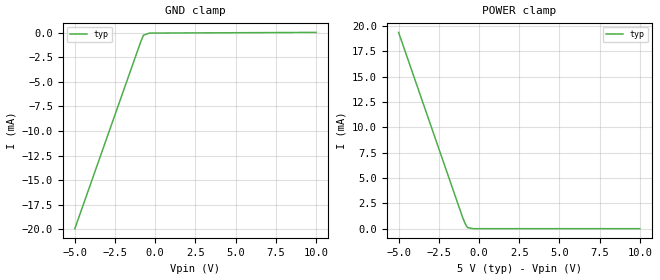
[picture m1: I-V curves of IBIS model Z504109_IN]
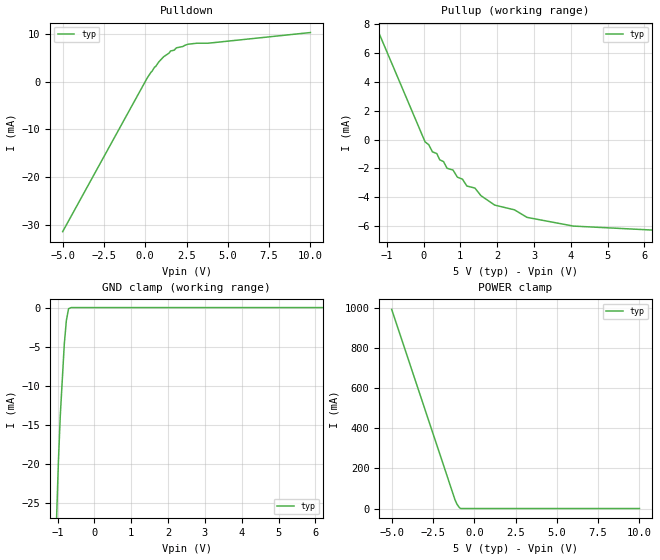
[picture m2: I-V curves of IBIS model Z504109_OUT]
| YOU ARE ONLY AUTHORIZED TO USE THIS SOFTWARE
| ACCORDING TO LICENSOR'S LICENSE RESTRICTIONS.
[IBIS Ver] 3.1
[File Name] mc54hc4543j.ibs
[File Rev] 2.0
[Source] Measured and created by ICX Technology
[Date] Friday 7/14/00 9:08:07 AM
[Copyright]
| (C) COPYRIGHT 1993-2000
| MENTOR GRAPHICS CORPORATION
| ICX STANDARD LIBRARY, ICX PROJECT MODELING,
| ICX CUSTOM MODELING, ICX VENDOR MODEL
| ALL RIGHTS RESERVED.
| THE FOLLOWING ARE TRADEMARKS OR SERVICE MARKS OF
| MENTOR GRAPHICS CORPORATION:ICX (R), ICX STANDARD
| LIBRARY(R), ICX PROJECT MODELING(R), ICX CUSTOM
| MODELING(R), qualityIBIS(TM), MODELVIEWER(TM),
| AND MODELEDITOR(TM)
| ALL COPIES OF SOFTWARE, INCLUDING BUT NOT LIMITED TO
| ANY MODIFICATIONS, ENHANCEMENTS OR DERIVATIVE WORKS,
| MUST CONTAIN ALL MENTOR GRAPHICS CORPORATION'S
| NOTICES AND LEGENDS, INCLUDING THOSE EMBEDDED IN
| SOFTWARE AND THOSE AFFIXED TO SOFTWARE MEDIUM
| AND CONTAINER, AS RECEIVED FROM MENTOR GRAPHICS
| CORPORATION.
|  ZAP Model Builder 2.7
[Component] MC54HC4543J
[Manufacturer] OnSemiconductor
[Package]
| variable   typ   min   max
R_pkg  .212ohms NA NA
L_pkg  4.758nH NA NA
C_pkg  1.944pF NA NA
[Pin] signal_name  model_name  R_pin  L_pin C_pin
1 L Z504109_IN .224 7.258n 2.683p
2 D2 Z504109_IN .216 5.258n 2.19p
3 D1 Z504109_IN .208 3.758n 1.697p
4 D3 Z504109_IN .2 2.758n 1.204p
5 D0 Z504109_IN .2 2.758n 1.204p
6 PCLK Z504109_IN .208 3.758n 1.697p
7 BI Z504109_IN .216 5.258n 2.19p
8 GROUND GND .224 7.258n 2.683p
9 A Z504109_OUT .224 7.258n 2.683p
10 B Z504109_OUT .216 5.258n 2.19p
11 C Z504109_OUT .208 3.758n 1.697p
12 D Z504109_OUT .2 2.758n 1.204p
13 E Z504109_OUT .2 2.758n 1.204p
14 G Z504109_OUT .208 3.758n 1.697p
15 F Z504109_OUT .216 5.258n 2.19p
16 VCC POWER .224 7.258n 2.683p
| Models and submodels in the file (2): Z504109_IN (Input), Z504109_OUT (Output)
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| (C) COPYRIGHT 1993-2000
| MENTOR GRAPHICS CORPORATION
| ICX STANDARD LIBRARY, ICX PROJECT MODELING,
| ICX CUSTOM MODELING, ICX VENDOR MODEL
| ALL RIGHTS RESERVED.
| THE FOLLOWING ARE TRADEMARKS OR SERVICE MARKS OF
| MENTOR GRAPHICS CORPORATION:ICX (R), ICX STANDARD
| LIBRARY(R), ICX PROJECT MODELING(R), ICX CUSTOM
| MODELING(R), qualityIBIS(TM), MODELVIEWER(TM),
| AND MODELEDITOR(TM)
| ALL COPIES OF SOFTWARE, INCLUDING BUT NOT LIMITED TO
| ANY MODIFICATIONS, ENHANCEMENTS OR DERIVATIVE WORKS,
| MUST CONTAIN ALL MENTOR GRAPHICS CORPORATION'S
| NOTICES AND LEGENDS, INCLUDING THOSE EMBEDDED IN
| SOFTWARE AND THOSE AFFIXED TO SOFTWARE MEDIUM
| AND CONTAINER, AS RECEIVED FROM MENTOR GRAPHICS
| CORPORATION.
| Model Application Version 1.89 2/18/99.
[Model] Z504109_IN
Model_type Input
Vinl = 1.000V
Vinh = 3.500V
C_comp 4.000pF NA NA
| variable typ   min   max
[Voltage Range] 5.000V NA NA
[GND Clamp Reference] 0.000V NA NA
[POWER Clamp Reference] 5.000V NA NA
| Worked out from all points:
|   POWER clamp passes 1 mA (typ) near -0.99 V on its own axis
[GND Clamp]
-5V       -19.93mA   NA         NA
-898.4mV  -897uA     NA         NA
-728.5mV  -242.8uA   NA         NA
-364.3mV  -31.14uA   NA         NA
10V       39.5uA     NA         NA
[POWER Clamp]
-5V       19.37mA    NA         NA
-1.021V   1.127mA    NA         NA
-848mV    457.5uA    NA         NA
-710mV    105.8uA    NA         NA
-355mV    0A         NA         NA
10V       0A         NA         NA
| (C) COPYRIGHT 1993-2000
| MENTOR GRAPHICS CORPORATION
| ICX STANDARD LIBRARY, ICX PROJECT MODELING,
| ICX CUSTOM MODELING, ICX VENDOR MODEL
| ALL RIGHTS RESERVED.
| THE FOLLOWING ARE TRADEMARKS OR SERVICE MARKS OF
| MENTOR GRAPHICS CORPORATION:ICX (R), ICX STANDARD
| LIBRARY(R), ICX PROJECT MODELING(R), ICX CUSTOM
| MODELING(R), qualityIBIS(TM), MODELVIEWER(TM),
| AND MODELEDITOR(TM)
| ALL COPIES OF SOFTWARE, INCLUDING BUT NOT LIMITED TO
| ANY MODIFICATIONS, ENHANCEMENTS OR DERIVATIVE WORKS,
| MUST CONTAIN ALL MENTOR GRAPHICS CORPORATION'S
| NOTICES AND LEGENDS, INCLUDING THOSE EMBEDDED IN
| SOFTWARE AND THOSE AFFIXED TO SOFTWARE MEDIUM
| AND CONTAINER, AS RECEIVED FROM MENTOR GRAPHICS
| CORPORATION.
| Model Application Version 1.89 2/18/99.
[Model] Z504109_OUT
Model_type Output
Vref=0.000V
Rref=500.0Mohms
Cref=50.00pF
Vmeas=2.500V
C_comp 8.000pF NA NA
| variable typ   min   max
[Voltage Range] 5.000V NA NA
[POWER Clamp Reference] 5.000V NA NA
[Pullup Reference] 5.000V NA NA
[Pulldown Reference] 0.000V NA NA
[GND Clamp Reference] 0.000V NA NA
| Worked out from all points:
|   slope of the pulldown table from 0 to 0.75 V, typ, clamps not added: 200 ohm
|   slope of the pullup table from 0 to 0.75 V, typ, clamps not added: 345 ohm
|   GND clamp passes 1 mA (typ) near -0.74 V on its own axis
|   POWER clamp passes 1 mA (typ) near -0.84 V on its own axis
[GND Clamp]
-5V       -867.1mA   NA         NA
-1.103V   -37.93mA   NA         NA
-981.1mV  -19.93mA   NA         NA
-927.8mV  -13.75mA   NA         NA
-818.9mV  -4.645mA   NA         NA
-762.5mV  -1.624mA   NA         NA
-702.6mV  -143.5uA   NA         NA
-632.3mV  0A         NA         NA
10V       0A         NA         NA
[Pulldown]
-5V       -31.39mA   NA         NA
130.2mV   836.2uA    NA         NA
566.4mV   3.053mA    NA         NA
820.9mV   4.131mA    NA         NA
1.118V    5.224mA    NA         NA
1.44V     5.972mA    NA         NA
1.537V    6.431mA    NA         NA
1.756V    6.59mA     NA         NA
1.914V    7.098mA    NA         NA
2.592V    7.835mA    NA         NA
3.809V    8.046mA    NA         NA
10V       10.28mA    NA         NA
[Pullup]
-5V       30.23mA    NA         NA
42mV      -157.2uA   NA         NA
640mV     -1.992mA   NA         NA
801mV     -2.115mA   NA         NA
1.178V    -3.225mA   NA         NA
1.397V    -3.366mA   NA         NA
1.558V    -3.889mA   NA         NA
1.933V    -4.548mA   NA         NA
2.472V    -4.878mA   NA         NA
2.812V    -5.401mA   NA         NA
4.068V    -6.003mA   NA         NA
10V       -6.768mA   NA         NA
[POWER Clamp]
-5V       990.9mA    NA         NA
-1.162V   42.37mA    NA         NA
-1.045V   21.27mA    NA         NA
-902mV    4.478mA    NA         NA
-829mV    420.3uA    NA         NA
-759.9mV  0A         NA         NA
10V       0A         NA         NA
[Ramp]
| variable typ min max
dV/dt_r 1.488/3.744n NA NA
dV/dt_f 1.488/2.770n NA NA
R_load = 500.0Ohms
